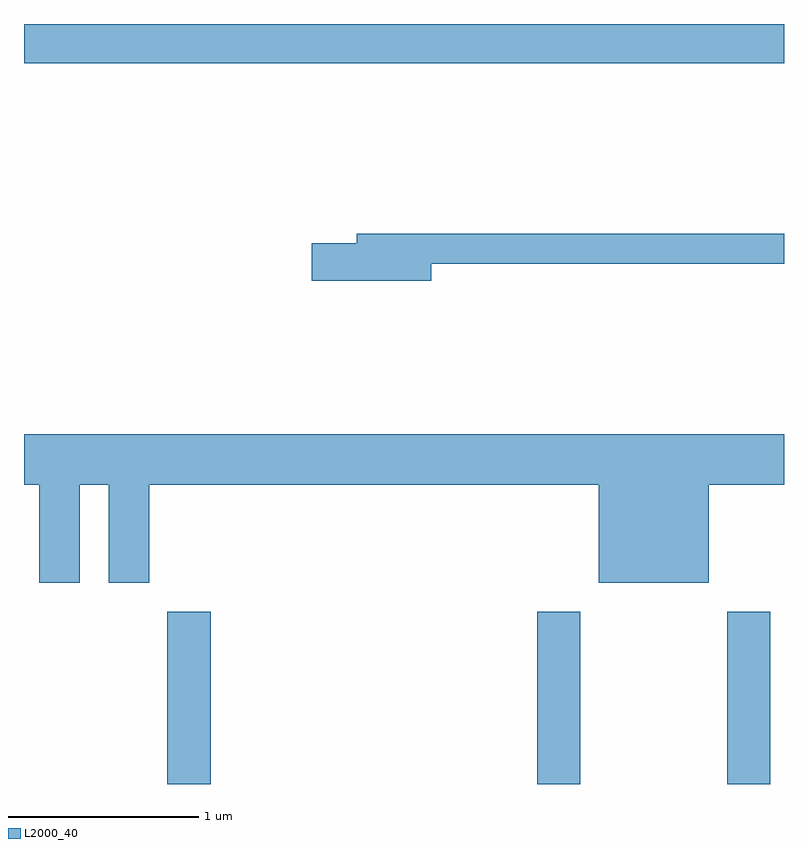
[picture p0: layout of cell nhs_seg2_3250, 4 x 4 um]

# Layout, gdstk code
import gdstk
lib = gdstk.Library(unit=1e-6, precision=1e-09)
def R(c, l, rs):  # rectangles x0, y0, x1, y1
    for r in rs: c.add(gdstk.rectangle(r[:2], r[2:], *l))
def P(c, l, *ps):  # polygons
    for p in ps: c.add(gdstk.Polygon(p, *l))
L2000_40 = (2000, 40)

nhs_seg2_3250 = lib.new_cell('nhs_seg2_3250')
R(nhs_seg2_3250, L2000_40, [(280.366,1097.802,280.594,1098.709), (282.311,1097.802,282.539,1098.709), (283.311,1097.802,283.539,1098.709), (279.611,1101.596,283.611,1101.802)])
P(nhs_seg2_3250, L2000_40, [(281.754,1100.541),(283.611,1100.541),(283.611,1100.699),(281.361,1100.699),(281.361,1100.649),(281.126,1100.649),(281.126,1100.451),(281.754,1100.451)],
  [(279.904,1099.376),(280.056,1099.376),(280.056,1098.861),(280.269,1098.861),(280.269,1099.376),(282.636,1099.376),(282.636,1098.861),(283.214,1098.861),(283.214,1099.376),(283.611,1099.376),(283.611,1099.644),(279.611,1099.644),(279.611,1099.376),(279.691,1099.376),(279.691,1098.861),(279.904,1098.861)])

lib.write_gds('nhs_seg2_3250.gds')
